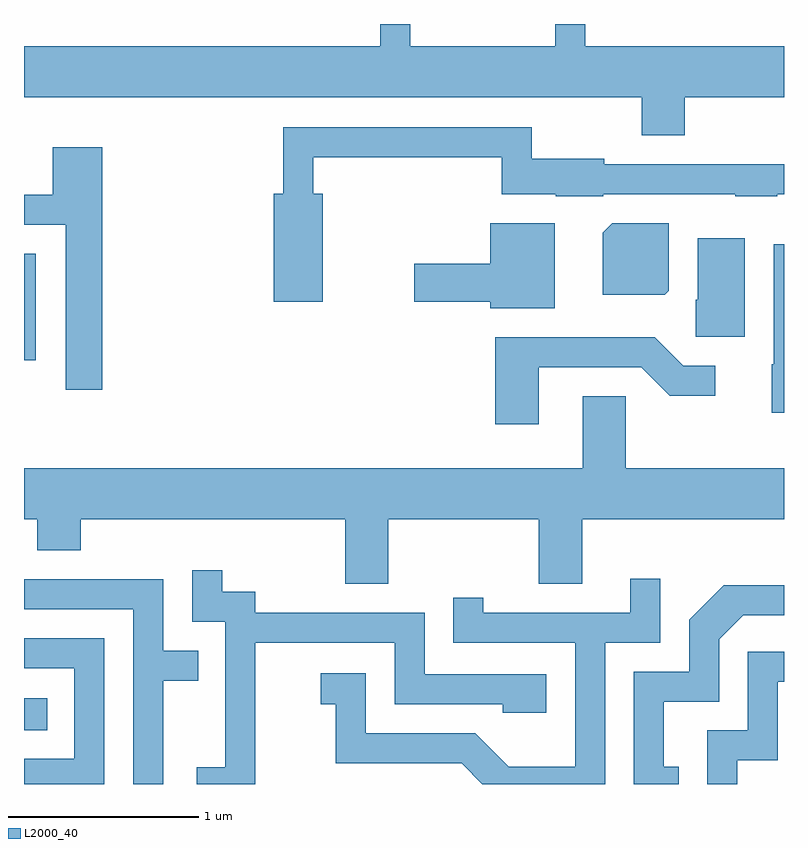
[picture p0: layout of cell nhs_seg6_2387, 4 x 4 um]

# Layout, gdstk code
import gdstk
lib = gdstk.Library(unit=1e-6, precision=1e-09)
def R(c, l, rs):  # rectangles x0, y0, x1, y1
    for r in rs: c.add(gdstk.rectangle(r[:2], r[2:], *l))
def P(c, l, *ps):  # polygons
    for p in ps: c.add(gdstk.Polygon(p, *l))
L2000_40 = (2000, 40)

nhs_seg6_2387 = lib.new_cell('nhs_seg6_2387')
R(nhs_seg6_2387, L2000_40, [(257.611,1584.446,257.733,1584.614), (257.611,1586.391,257.674,1586.954)])
P(nhs_seg6_2387, L2000_40, [(261.089,1587.776),(261.611,1587.776),(261.611,1588.044),(260.564,1588.044),(260.564,1588.162),(260.406,1588.162),(260.406,1588.044),(259.644,1588.044),(259.644,1588.162),(259.486,1588.162),(259.486,1588.044),(257.611,1588.044),(257.611,1587.776),(260.861,1587.776),(260.861,1587.576),(261.089,1587.576)],
  [(259.184,1587.269),(259.134,1587.269),(259.134,1587.461),(260.126,1587.461),(260.126,1587.266),(260.41,1587.266),(260.41,1587.256),(260.66,1587.256),(260.66,1587.266),(261.355,1587.266),(261.355,1587.256),(261.575,1587.256),(261.575,1587.266),(261.611,1587.266),(261.611,1587.424),(260.664,1587.424),(260.664,1587.454),(260.284,1587.454),(260.284,1587.619),(258.976,1587.619),(258.976,1587.269),(258.926,1587.269),(258.926,1586.701),(259.184,1586.701)],
  [(258.024,1587.514),(257.761,1587.514),(257.761,1587.264),(257.611,1587.264),(257.611,1587.106),(257.831,1587.106),(257.831,1586.236),(258.024,1586.236)],
  [(260.404,1587.114),(260.066,1587.114),(260.066,1586.899),(259.666,1586.899),(259.666,1586.701),(260.066,1586.701),(260.066,1586.666),(260.404,1586.666)],
  [(261.004,1586.757),(261.004,1587.114),(260.707,1587.114),(260.656,1587.064),(260.656,1586.736),(260.984,1586.736)],
  [(261.404,1587.034),(261.156,1587.034),(261.156,1586.71),(261.146,1586.71),(261.146,1586.516),(261.404,1586.516)],
  [(261.611,1587.004),(261.556,1587.004),(261.556,1586.37),(261.546,1586.37),(261.546,1586.116),(261.611,1586.116)],
  [(260.319,1586.356),(260.859,1586.356),(261.009,1586.206),(261.248,1586.206),(261.248,1586.364),(261.082,1586.364),(260.932,1586.514),(260.091,1586.514),(260.091,1586.056),(260.319,1586.056)],
  [(259.529,1585.556),(260.321,1585.556),(260.321,1585.216),(260.549,1585.216),(260.549,1585.556),(261.611,1585.556),(261.611,1585.824),(260.779,1585.824),(260.779,1586.204),(260.551,1586.204),(260.551,1585.824),(257.611,1585.824),(257.611,1585.556),(257.681,1585.556),(257.681,1585.391),(257.909,1585.391),(257.909,1585.556),(259.301,1585.556),(259.301,1585.216),(259.529,1585.216)],
  [(258.829,1584.906),(259.561,1584.906),(259.561,1584.581),(260.131,1584.581),(260.131,1584.536),(260.359,1584.536),(260.359,1584.739),(259.719,1584.739),(259.719,1585.064),(258.829,1585.064),(258.829,1585.174),(258.654,1585.174),(258.654,1585.288),(258.496,1585.288),(258.496,1585.016),(258.671,1585.016),(258.671,1584.249),(258.521,1584.249),(258.521,1584.162),(258.829,1584.162)],
  [(260.669,1584.906),(260.959,1584.906),(260.959,1585.243),(260.801,1585.243),(260.801,1585.064),(260.029,1585.064),(260.029,1585.143),(259.871,1585.143),(259.871,1584.906),(260.511,1584.906),(260.511,1584.254),(260.162,1584.254),(259.986,1584.429),(259.409,1584.429),(259.409,1584.744),(259.173,1584.744),(259.173,1584.581),(259.251,1584.581),(259.251,1584.271),(259.914,1584.271),(260.023,1584.162),(260.669,1584.162)],
  [(258.344,1584.706),(258.528,1584.706),(258.528,1584.864),(258.344,1584.864),(258.344,1585.239),(257.611,1585.239),(257.611,1585.081),(258.186,1585.081),(258.186,1584.162),(258.344,1584.162)],
  [(261.058,1584.254),(260.979,1584.254),(260.979,1584.596),(261.269,1584.596),(261.269,1584.924),(261.397,1585.051),(261.611,1585.051),(261.611,1585.209),(261.294,1585.209),(261.111,1585.027),(261.111,1584.754),(260.821,1584.754),(260.821,1584.162),(261.058,1584.162)],
  [(258.034,1584.929),(257.611,1584.929),(257.611,1584.771),(257.876,1584.771),(257.876,1584.294),(257.611,1584.294),(257.611,1584.162),(258.034,1584.162)],
  [(261.364,1584.286),(261.579,1584.286),(261.579,1584.701),(261.611,1584.701),(261.611,1584.859),(261.421,1584.859),(261.421,1584.444),(261.206,1584.444),(261.206,1584.162),(261.364,1584.162)])

lib.write_gds('nhs_seg6_2387.gds')
